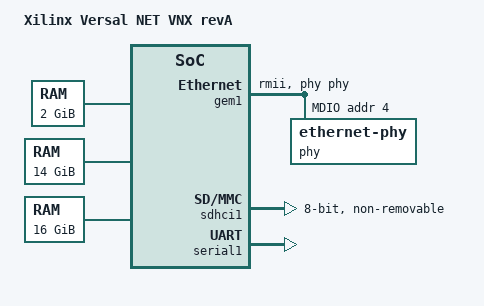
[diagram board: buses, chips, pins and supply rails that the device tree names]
// SPDX-License-Identifier: GPL-2.0
/*
 * dts file for Xilinx Versal Net VNX board revA
 *
 * (C) Copyright 2022, Xilinx, Inc.
 * (C) Copyright 2022 - 2025, Advanced Micro Devices, Inc.
 *
 * Michal Simek <michal.simek@amd.com>
 */

/dts-v1/;

#include "versal-net.dtsi"
#include "versal-net-clk.dtsi"
#include <dt-bindings/gpio/gpio.h>

/ {
	compatible = "xlnx,versal-net-vnx-revA", "xlnx,versal-net-vnx", "xlnx,versal-net";
	model = "Xilinx Versal NET VNX revA";
	dma-coherent;

	memory: memory@0 {
		reg = <0 0 0 0x80000000>;
		device_type = "memory";
	};

	memory_hi: memory@800000000 {
		reg = <8 0 3 0x80000000>;
		device_type = "memory";
	};

	memory_hi2: memory@50000000000 {
		reg = <0x500 0 4 0>;
		device_type = "memory";
	};

	chosen {
		bootargs = "console=ttyAMA1,115200n8";
		stdout-path = "serial1:115200n8";
	};

	reserved-memory {
		#address-cells = <2>;
		#size-cells = <2>;
		ranges;
		rsc_tbl_carveout: rproc@bbf14000 {
			reg = <0 0xbbf14000 0 0x1000>;
			no-map;
		};
		rpu0vdev0vring0: rpu0vdev0vring0@bbf15000 {
			reg = <0 0xbbf15000 0 0x1000>;
			no-map;
		};
		rpu0vdev0vring1: rpu0vdev0vring1@bbf16000 {
			reg = <0 0xbbf16000 0 0x1000>;
			no-map;
		};
		rpu0vdev0buffer: rpu0vdev0buffer@bbf17000 {
			reg = <0 0xbbf17000 0 0xD000>;
			no-map;
		};
		reserve_others: reserveothers@0 {
			reg = <0 0x0 0 0x1c200000>;
			no-map;
		};
		pdi_update: pdiupdate@1c200000 {
			reg = <0 0x1c200000 0 0x6000000>;
			no-map;
		};
		reserve_optee_atf: reserveopteeatf@22200000 {
			reg = <0 0x22200000 0 0x4100000>;
			no-map;
		};
	};
};

&gem1 {
	status = "okay";
	iommus = <&smmu 0x235>;
	phy-handle = <&phy>;
	phy-mode = "rmii";
	mdio {
		#address-cells = <1>;
		#size-cells = <0>;
		phy: ethernet-phy@4 {
			reg = <4>;
		};
	};
};

&ospi {
	num-cs = <2>;
	iommus = <&smmu 0x245>;
	#address-cells = <1>;
	#size-cells = <0>;
};

&sdhci1 {
	status = "okay";
	iommus = <&smmu 0x243>;
	non-removable;
	disable-wp;
	no-sd;
	no-sdio;
	cap-mmc-hw-reset;
	bus-width = <8>;
	no-1-8-v;
};

&serial1 {
	status = "okay";
};

&smmu {
	status = "okay";
};
